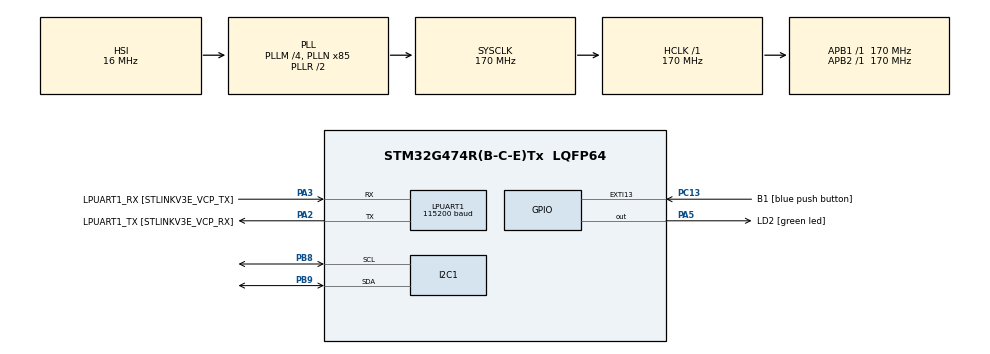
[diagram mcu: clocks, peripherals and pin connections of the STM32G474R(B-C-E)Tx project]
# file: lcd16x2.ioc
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I2C1.Timing=0x30A0A7FB
LPUART1.BaudRate=115200
LPUART1.WordLength=UART_WORDLENGTH_8B
Mcu.Family=STM32G4
Mcu.Name=STM32G474R(B-C-E)Tx
Mcu.Package=LQFP64
NVIC.EXTI15_10_IRQn=true\:0\:0\:false\:false\:true\:true\:true\:true
NVIC.PriorityGroup=NVIC_PRIORITYGROUP_4
NVIC.TIM6_DAC_IRQn=true\:15\:0\:false\:false\:true\:false\:true\:true
NVIC.TimeBase=TIM6_DAC_IRQn
NVIC.TimeBaseIP=TIM6
PA13.GPIO_Label=T_SWDIO
PA13.Mode=Serial_Wire
PA13.Signal=SYS_JTMS-SWDIO
PA14.GPIO_Label=T_SWCLK
PA14.Mode=Serial_Wire
PA14.Signal=SYS_JTCK-SWCLK
PA2.GPIO_Label=LPUART1_TX [STLINKV3E_VCP_RX]
PA2.Mode=Asynchronous
PA2.Signal=LPUART1_TX
PA3.GPIO_Label=LPUART1_RX [STLINKV3E_VCP_TX]
PA3.Mode=Asynchronous
PA3.Signal=LPUART1_RX
PA5.GPIO_Label=LD2 [green led]
PA5.Signal=GPIO_Output
PB3.GPIO_Label=T_SWO
PB3.Signal=SYS_JTDO-SWO
PB8-BOOT0.Mode=I2C
PB8-BOOT0.Signal=I2C1_SCL
PB9.Mode=I2C
PB9.Signal=I2C1_SDA
PC13.GPIO_Label=B1 [blue push button]
PC13.Signal=GPXTI13
PC14-OSC32_IN.Mode=LSE-External-Oscillator
PC14-OSC32_IN.Signal=RCC_OSC32_IN
PC15-OSC32_OUT.Mode=LSE-External-Oscillator
PC15-OSC32_OUT.Signal=RCC_OSC32_OUT
PF0-OSC_IN.Mode=HSE-External-Oscillator
PF0-OSC_IN.Signal=RCC_OSC_IN
PF1-OSC_OUT.Mode=HSE-External-Oscillator
PF1-OSC_OUT.Signal=RCC_OSC_OUT
ProjectManager.HeapSize=0x200
ProjectManager.StackSize=0x400
ProjectManager.TargetToolchain=STM32CubeIDE
RCC.ADC12Freq_Value=170000000
RCC.ADC345Freq_Value=170000000
RCC.AHBFreq_Value=170000000
RCC.APB1Freq_Value=170000000
RCC.APB1TimFreq_Value=170000000
RCC.APB2Freq_Value=170000000
RCC.APB2TimFreq_Value=170000000
RCC.CortexFreq_Value=170000000
RCC.EXTERNAL_CLOCK_VALUE=12288000
RCC.HCLKFreq_Value=170000000
RCC.HSE_VALUE=24000000
RCC.HSI48_VALUE=48000000
RCC.HSI_VALUE=16000000
RCC.PLLM=RCC_PLLM_DIV4
RCC.PLLN=85
RCC.RTCClockSelection=RCC_RTCCLKSOURCE_LSE
RCC.SYSCLKFreq_VALUE=170000000
RCC.SYSCLKSource=RCC_SYSCLKSOURCE_PLLCLK
RCC.USBFreq_Value=170000000
RCC.VCOOutputFreq_Value=340000000
VP_SYS_VS_DBSignals.Mode=DisableDeadBatterySignals
VP_SYS_VS_tim6.Mode=TIM6
board=NUCLEO-G474RE

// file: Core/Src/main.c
/* USER CODE BEGIN Header */
/**
 ******************************************************************************
 * @file           : main.c
 * @brief          : Main program body
 ******************************************************************************
 * @attention
 *
 * Copyright (c) 2022 STMicroelectronics.
 * All rights reserved.
 *
 * This software is licensed under terms that can be found in the LICENSE file
 * in the root directory of this software component.
 * If no LICENSE file comes with this software, it is provided AS-IS.
 *
 ******************************************************************************
 */
/* USER CODE END Header */
#include "main.h"

/* USER CODE BEGIN Includes */
#include "stdio.h"
#include "i2c-lcd.h"
/* USER CODE END Includes */

I2C_HandleTypeDef hi2c1;

UART_HandleTypeDef hlpuart1;

void SystemClock_Config(void);
static void MX_GPIO_Init(void);
static void MX_LPUART1_UART_Init(void);
static void MX_I2C1_Init(void);

/* USER CODE BEGIN 0 */
int row=0;
int col=0;
/* USER CODE END 0 */

int main(void) {

	/* MCU Configuration--------------------------------------------------------*/

	/* Reset of all peripherals, Initializes the Flash interface and the Systick. */
	HAL_Init();

	/* Configure the system clock */
	SystemClock_Config();

	/* Initialize all configured peripherals */
	MX_GPIO_Init();
	MX_LPUART1_UART_Init();
	MX_I2C1_Init();
	/* USER CODE BEGIN 2 */
	// scan for i2c devices
	uint8_t *buf[24] = { 0 };
	uint8_t var, ret;
	for (var = 0; var < 127; ++var) {
		ret = HAL_I2C_IsDeviceReady(&hi2c1, var << 1, 3, HAL_MAX_DELAY);
		if (ret != HAL_OK) {
			// there is no device in this addr (var << 1)
		} else {
			sprintf(buf, "0x%X", var);
			HAL_UART_Transmit(&hlpuart1, buf, sizeof(buf), HAL_MAX_DELAY);
		}
	}
	// end scan

	lcd_init();
	lcd_send_string("Hello,World!");
	HAL_Delay(1000);
	//	lcd_clear();

	lcd_put_cur(1, 0);
	lcd_send_string("from Azat.");

	HAL_Delay(2000);
	lcd_clear();

	/* USER CODE END 2 */

	/* Infinite loop */
	/* USER CODE BEGIN WHILE */
	while (1) {
		for (int var = 0; var < 128; ++var) {
			lcd_put_cur(row, col);
			lcd_send_data(var+48);
			col++;
			if (col > 15) {
				row++;
				col=0;
			}
			if(row>1){
				row=0;
			}
			HAL_Delay(250);
		}
		/* USER CODE END WHILE */

	}
}

void SystemClock_Config(void) {
	RCC_OscInitTypeDef RCC_OscInitStruct = { 0 };
	RCC_ClkInitTypeDef RCC_ClkInitStruct = { 0 };

	/** Configure the main internal regulator output voltage
	 */
	HAL_PWREx_ControlVoltageScaling(PWR_REGULATOR_VOLTAGE_SCALE1_BOOST);

	/** Initializes the RCC Oscillators according to the specified parameters
	 * in the RCC_OscInitTypeDef structure.
	 */
	RCC_OscInitStruct.OscillatorType = RCC_OSCILLATORTYPE_HSI;
	RCC_OscInitStruct.HSIState = RCC_HSI_ON;
	RCC_OscInitStruct.HSICalibrationValue = RCC_HSICALIBRATION_DEFAULT;
	RCC_OscInitStruct.PLL.PLLState = RCC_PLL_ON;
	RCC_OscInitStruct.PLL.PLLSource = RCC_PLLSOURCE_HSI;
	RCC_OscInitStruct.PLL.PLLM = RCC_PLLM_DIV4;
	RCC_OscInitStruct.PLL.PLLN = 85;
	RCC_OscInitStruct.PLL.PLLP = RCC_PLLP_DIV2;
	RCC_OscInitStruct.PLL.PLLQ = RCC_PLLQ_DIV2;
	RCC_OscInitStruct.PLL.PLLR = RCC_PLLR_DIV2;
	if (HAL_RCC_OscConfig(&RCC_OscInitStruct) != HAL_OK) {
		Error_Handler();
	}

	/** Initializes the CPU, AHB and APB buses clocks
	 */
	RCC_ClkInitStruct.ClockType = RCC_CLOCKTYPE_HCLK | RCC_CLOCKTYPE_SYSCLK
			| RCC_CLOCKTYPE_PCLK1 | RCC_CLOCKTYPE_PCLK2;
	RCC_ClkInitStruct.SYSCLKSource = RCC_SYSCLKSOURCE_PLLCLK;
	RCC_ClkInitStruct.AHBCLKDivider = RCC_SYSCLK_DIV1;
	RCC_ClkInitStruct.APB1CLKDivider = RCC_HCLK_DIV1;
	RCC_ClkInitStruct.APB2CLKDivider = RCC_HCLK_DIV1;

	if (HAL_RCC_ClockConfig(&RCC_ClkInitStruct, FLASH_LATENCY_4) != HAL_OK) {
		Error_Handler();
	}
}

static void MX_I2C1_Init(void) {

	hi2c1.Instance = I2C1;
	hi2c1.Init.Timing = 0x30A0A7FB;
	hi2c1.Init.OwnAddress1 = 0;
	hi2c1.Init.AddressingMode = I2C_ADDRESSINGMODE_7BIT;
	hi2c1.Init.DualAddressMode = I2C_DUALADDRESS_DISABLE;
	hi2c1.Init.OwnAddress2 = 0;
	hi2c1.Init.OwnAddress2Masks = I2C_OA2_NOMASK;
	hi2c1.Init.GeneralCallMode = I2C_GENERALCALL_DISABLE;
	hi2c1.Init.NoStretchMode = I2C_NOSTRETCH_DISABLE;
	if (HAL_I2C_Init(&hi2c1) != HAL_OK) {
		Error_Handler();
	}

	/** Configure Analogue filter
	 */
	if (HAL_I2CEx_ConfigAnalogFilter(&hi2c1, I2C_ANALOGFILTER_ENABLE)
			!= HAL_OK) {
		Error_Handler();
	}

	/** Configure Digital filter
	 */
	if (HAL_I2CEx_ConfigDigitalFilter(&hi2c1, 0) != HAL_OK) {
		Error_Handler();
	}

}

static void MX_LPUART1_UART_Init(void) {

	hlpuart1.Instance = LPUART1;
	hlpuart1.Init.BaudRate = 115200;
	hlpuart1.Init.WordLength = UART_WORDLENGTH_8B;
	hlpuart1.Init.StopBits = UART_STOPBITS_1;
	hlpuart1.Init.Parity = UART_PARITY_NONE;
	hlpuart1.Init.Mode = UART_MODE_TX_RX;
	hlpuart1.Init.HwFlowCtl = UART_HWCONTROL_NONE;
	hlpuart1.Init.OneBitSampling = UART_ONE_BIT_SAMPLE_DISABLE;
	hlpuart1.Init.ClockPrescaler = UART_PRESCALER_DIV1;
	hlpuart1.AdvancedInit.AdvFeatureInit = UART_ADVFEATURE_NO_INIT;
	if (HAL_UART_Init(&hlpuart1) != HAL_OK) {
		Error_Handler();
	}
	if (HAL_UARTEx_SetTxFifoThreshold(&hlpuart1, UART_TXFIFO_THRESHOLD_1_8)
			!= HAL_OK) {
		Error_Handler();
	}
	if (HAL_UARTEx_SetRxFifoThreshold(&hlpuart1, UART_RXFIFO_THRESHOLD_1_8)
			!= HAL_OK) {
		Error_Handler();
	}
	if (HAL_UARTEx_DisableFifoMode(&hlpuart1) != HAL_OK) {
		Error_Handler();
	}

}

static void MX_GPIO_Init(void) {
	GPIO_InitTypeDef GPIO_InitStruct = { 0 };

	/* GPIO Ports Clock Enable */
	__HAL_RCC_GPIOC_CLK_ENABLE();
	__HAL_RCC_GPIOF_CLK_ENABLE();
	__HAL_RCC_GPIOA_CLK_ENABLE();
	__HAL_RCC_GPIOB_CLK_ENABLE();

	/*Configure GPIO pin Output Level */
	HAL_GPIO_WritePin(LD2_GPIO_Port, LD2_Pin, GPIO_PIN_RESET);

	/*Configure GPIO pin : B1_Pin */
	GPIO_InitStruct.Pin = B1_Pin;
	GPIO_InitStruct.Mode = GPIO_MODE_IT_RISING;
	GPIO_InitStruct.Pull = GPIO_NOPULL;
	HAL_GPIO_Init(B1_GPIO_Port, &GPIO_InitStruct);

	/*Configure GPIO pin : LD2_Pin */
	GPIO_InitStruct.Pin = LD2_Pin;
	GPIO_InitStruct.Mode = GPIO_MODE_OUTPUT_PP;
	GPIO_InitStruct.Pull = GPIO_NOPULL;
	GPIO_InitStruct.Speed = GPIO_SPEED_FREQ_LOW;
	HAL_GPIO_Init(LD2_GPIO_Port, &GPIO_InitStruct);

	/* EXTI interrupt init*/
	HAL_NVIC_SetPriority(EXTI15_10_IRQn, 0, 0);
	HAL_NVIC_EnableIRQ(EXTI15_10_IRQn);

}

void HAL_TIM_PeriodElapsedCallback(TIM_HandleTypeDef *htim) {
	if (htim->Instance == TIM6) {
		HAL_IncTick();
	}
}

void Error_Handler(void) {
	__disable_irq();
	while (1) {
	}
}
